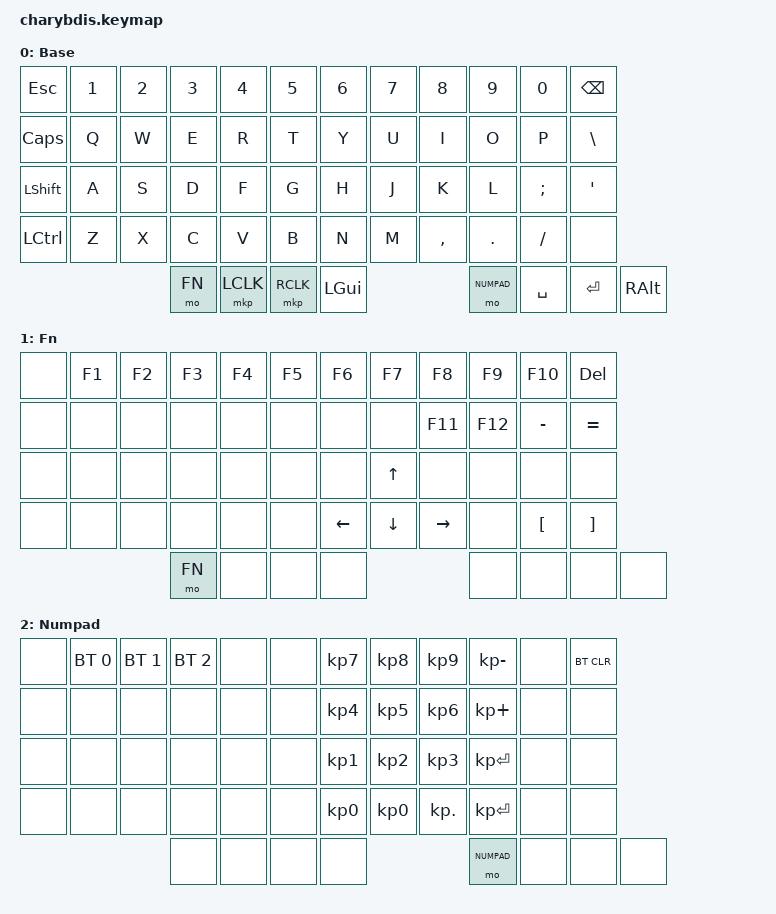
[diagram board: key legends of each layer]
#include <behaviors.dtsi>
#include <dt-bindings/zmk/keys.h>
#include <dt-bindings/zmk/bt.h>
#include <dt-bindings/zmk/mouse.h>
#include <dt-bindings/zmk/pointing.h>

// Layer definitions
#define BASE  0
#define FN    1
#define NUMPAD 2

/ {
    /*
     * 트랙볼 스나이핑 / 스크롤 모드 설정
     * PMW3610 드라이버 모듈이 포함된 경우 아래 설정이 활성화됩니다.
     * charybdis.conf 에서 CONFIG_PMW3610_SNIPE_LAYERS=0x1 등으로도 설정 가능합니다.
     */

    keymap {
        compatible = "zmk,keymap";

        /* ===================== LAYER 0 — BASE ===================== */
        base_layer {
            label = "Base";
            bindings = <
            // ┌─────────┬─────┬─────┬─────┬─────┬─────┐       ┌─────┬─────┬─────┬─────┬─────┬─────────┐
            // │  ESC    │  1  │  2  │  3  │  4  │  5  │       │  6  │  7  │  8  │  9  │  0  │  BSPC   │
                &kp ESC   &kp N1 &kp N2 &kp N3 &kp N4 &kp N5    &kp N6 &kp N7 &kp N8 &kp N9 &kp N0 &kp BSPC
            // ├─────────┼─────┼─────┼─────┼─────┼─────┤       ├─────┼─────┼─────┼─────┼─────┼─────────┤
            // │  CAPS   │  Q  │  W  │  E  │  R  │  T  │       │  Y  │  U  │  I  │  O  │  P  │  \ |    │
                &kp CAPS  &kp Q  &kp W  &kp E  &kp R  &kp T     &kp Y  &kp U  &kp I  &kp O  &kp P  &kp BSLH
            // ├─────────┼─────┼─────┼─────┼─────┼─────┤       ├─────┼─────┼─────┼─────┼─────┼─────────┤
            // │  LSHFT  │  A  │  S  │  D  │  F  │  G  │       │  H  │  J  │  K  │  L  │ ; : │  ' "    │
                &kp LSHFT &kp A  &kp S  &kp D  &kp F  &kp G     &kp H  &kp J  &kp K  &kp L  &kp SEMI &kp SQT
            // ├─────────┼─────┼─────┼─────┼─────┼─────┤       ├─────┼─────┼─────┼─────┼─────┼─────────┤
            // │  LCTRL  │  Z  │  X  │  C  │  V  │  B  │       │  N  │  M  │  ,  │  .  │  /  │  SNIPE  │
                &kp LCTRL &kp Z  &kp X  &kp C  &kp V  &kp B     &kp N  &kp M  &kp COMMA &kp DOT &kp FSLH &none
            // └─────────┴─────┴─────┼─────┼─────┼─────┘       └─────┼─────┼─────┼──────┴─────┴─────────┘
            //                       │ MO1 │LCLK │RCLK │  WIN  │ MO2 │     │ SPC │ ENT │ RALT│
                                      &mo FN &mkp LCLK &mkp RCLK &kp LGUI &mo NUMPAD    &kp SPACE &kp RET &kp RALT
            // └─────────────────────┴─────┴─────┘             └─────┴─────┴─────┘
            >;
        };

        /* ===================== LAYER 1 — FUNCTION / NAV ===================== */
        fn_layer {
            label = "Fn";
            bindings = <
            // ┌──────┬─────┬─────┬─────┬─────┬─────┐       ┌─────┬─────┬─────┬─────┬───────┬───────┐
            // │ none │ F1  │ F2  │ F3  │ F4  │ F5  │       │ F6  │ F7  │ F8  │ F9  │  F10  │  DEL  │
                &none  &kp F1 &kp F2 &kp F3 &kp F4 &kp F5    &kp F6 &kp F7 &kp F8 &kp F9 &kp F10 &kp DEL
            // ├──────┼─────┼─────┼─────┼─────┼─────┤       ├─────┼─────┼─────┼──────┼──────┼───────┤
            // │ none │none │none │none │none │none │       │none │none │ F11 │  F12 │  -_  │  =+   │
                &none  &none  &none  &none  &none  &none     &none  &none  &kp F11 &kp F12 &kp MINUS &kp EQUAL
            // ├──────┼─────┼─────┼─────┼─────┼─────┤       ├─────┼─────┼─────┼──────┼──────┼───────┤
            // │ none │none │none │none │none │none │       │none │ ↑   │none │ none │ none │ none  │
                &none  &none  &none  &none  &none  &none     &none  &kp UP &none  &none  &none  &none
            // ├──────┼─────┼─────┼─────┼─────┼─────┤       ├─────┼─────┼─────┼──────┼──────┼───────┤
            // │ none │none │none │none │none │none │       │  ←  │  ↓  │  →  │ none │  [{  │  ]}   │
                &none  &none  &none  &none  &none  &none     &kp LEFT &kp DOWN &kp RIGHT &none &kp LBKT &kp RBKT
            // └──────┴─────┴─────┼─────┼─────┼─────┘       └─────┼─────┼──────┼──────┴──────┴───────┘
            //                    │ MO1 │none │none │  none │none │     │none │none │none │
                                   &mo FN &none  &none  &none  &none    &none  &none  &none
            >;
        };

        /* ===================== LAYER 2 — NUMPAD / BLUETOOTH ===================== */
        numpad_layer {
            label = "Numpad";
            bindings = <
            // ┌──────┬──────┬──────┬──────┬──────┬──────┐       ┌──────┬──────┬──────┬───────┬──────┬────────┐
            // │ none │ BT1  │ BT2  │ BT3  │ none │ none │       │ KP7  │ KP8  │ KP9  │  KP-  │ none │ BTCLR  │
                &none  &bt BT_SEL 0 &bt BT_SEL 1 &bt BT_SEL 2 &none &none    &kp KP_N7 &kp KP_N8 &kp KP_N9 &kp KP_MINUS &none &bt BT_CLR
            // ├──────┼──────┼──────┼──────┼──────┼──────┤       ├──────┼──────┼──────┼───────┼──────┼────────┤
            // │ none │ none │ none │ none │ none │ none │       │ KP4  │ KP5  │ KP6  │  KP+  │ none │  none  │
                &none  &none  &none  &none  &none  &none         &kp KP_N4 &kp KP_N5 &kp KP_N6 &kp KP_PLUS &none &none
            // ├──────┼──────┼──────┼──────┼──────┼──────┤       ├──────┼──────┼──────┼───────┼──────┼────────┤
            // │ none │ none │ none │ none │ none │ none │       │ KP1  │ KP2  │ KP3  │ KPENT │ none │  none  │
                &none  &none  &none  &none  &none  &none         &kp KP_N1 &kp KP_N2 &kp KP_N3 &kp KP_ENTER &none &none
            // ├──────┼──────┼──────┼──────┼──────┼──────┤       ├──────┼──────┼──────┼───────┼──────┼────────┤
            // │ none │ none │ none │ none │ none │ none │       │ KP0  │ KP0  │ KP.  │ KPENT │ none │  none  │
                &none  &none  &none  &none  &none  &none         &kp KP_N0 &kp KP_N0 &kp KP_DOT &kp KP_ENTER &none &none
            // └──────┴──────┴──────┼──────┼──────┼──────┘       └──────┼──────┼──────┼────────┴──────┴────────┘
            //                      │ none │ none │ none │  none │ MO2  │      │ none │ none │ none │
                                     &none  &none  &none  &none  &mo NUMPAD    &none  &none  &none
            >;
        };

    };
};
